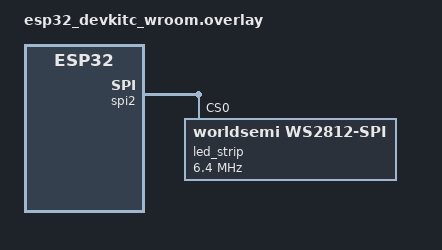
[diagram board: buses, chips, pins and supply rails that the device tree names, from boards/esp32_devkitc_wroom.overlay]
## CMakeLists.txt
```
cmake_minimum_required(VERSION 3.20.0)
find_package(Zephyr REQUIRED HINTS $ENV{ZEPHYR_BASE})
project(bluetooth_display)

target_sources(app
PRIVATE
	src/main.cpp
	src/ots.cpp
	src/led_display.cpp
)
```

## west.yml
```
manifest:
  version:
    1.2

  projects:
    - name: zephyr
      url: https://github.com/zephyrproject-rtos/zephyr
      revision: v3.6.0
      clone-depth: 1
      import:
        file: west.yml
        path-prefix: deps
        name-allowlist:
          - cmsis
          - hal_espressif
          - tinycrypt

  self:
    path: .
```

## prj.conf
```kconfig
CONFIG_CPP=y
CONFIG_STD_CPP20=y
CONFIG_REQUIRES_FULL_LIBCPP=y

CONFIG_WARN_EXPERIMENTAL=y

CONFIG_LOG=y

CONFIG_BT=y
CONFIG_BT_PERIPHERAL=y
CONFIG_BT_DEVICE_NAME="LED Display"
CONFIG_BT_OTS=y
CONFIG_BT_OTS_OACP_WRITE_SUPPORT=y

CONFIG_LED_STRIP=y
CONFIG_WS2812_STRIP=y
```

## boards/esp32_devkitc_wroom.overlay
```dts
#include <zephyr/dt-bindings/led/led.h>

&spi2 {
	/* Workaround to support WS2812 driver */
	line-idle-low;

	led_strip: ws2812@0 {
		compatible = "worldsemi,ws2812-spi";

		/* SPI */
		reg = <0>; /* ignored, but necessary for SPI bindings */
		spi-max-frequency = <6400000>;

		/* WS2812 */
		chain-length = <225>; /* arbitrary; change at will */
		spi-cpha;
		spi-one-frame = <0xf0>; /* 11110000: 625 ns high and 625 ns low */
		spi-zero-frame = <0xc0>; /* 11000000: 312.5 ns high and 937.5 ns low */
		color-mapping = <
			LED_COLOR_ID_GREEN
			LED_COLOR_ID_RED
			LED_COLOR_ID_BLUE
		>;
	};
};

&pinctrl {
	spim2_default: spim2_default {
		group2 {
			pinmux = <SPIM2_MOSI_GPIO13>;
		};
	};
};

/ {
	aliases {
		led-strip = &led_strip;
	};
};
```

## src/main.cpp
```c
#include <zephyr/bluetooth/bluetooth.h>
#include <zephyr/bluetooth/uuid.h>
#include <zephyr/logging/log.h>

#include "led_display.hpp"
#include "ots.hpp"

LOG_MODULE_REGISTER(led_display);

constexpr char             DEVICE_NAME[]   = CONFIG_BT_DEVICE_NAME;
constexpr uint8_t          DEVICE_NAME_LEN = sizeof(DEVICE_NAME) - 1;
constexpr bt_le_adv_param *bt_param        = BT_LE_ADV_CONN;

static const bt_data ad[] = {
	BT_DATA_BYTES(BT_DATA_FLAGS, (BT_LE_AD_GENERAL | BT_LE_AD_NO_BREDR)),
	BT_DATA(BT_DATA_NAME_COMPLETE, DEVICE_NAME, DEVICE_NAME_LEN),
};

static const bt_data sd[] = {
	BT_DATA_BYTES(BT_DATA_UUID16_ALL, BT_UUID_16_ENCODE(BT_UUID_OTS_VAL)),
};

int main() {
	int err;
	led_display.set_image({0xff, 0xff, 0xff});
	err = led_display.update_display();
	if (err) {
		LOG_ERR("LED write failed (err %d)\n", err);
		return 0;
	}
	err = bt_enable(nullptr);
	if (err) {
		LOG_ERR("Bluetooth init failed (err %d)\n", err);
		return 0;
	}
	err = ots_init();
	if (err) {
		LOG_ERR("OTS init failed (err %d)\n", err);
		return 0;
	}
	err = bt_le_adv_start(bt_param, ad, ARRAY_SIZE(ad), sd, ARRAY_SIZE(sd));
	return 0;
}
```

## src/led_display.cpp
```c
#include "led_display.hpp"

LedDisplay led_display(DEVICE_DT_GET(DT_ALIAS(led_strip)));

void LedDisplay::set_image(const led_rgb pixel_value) {
	for (led_rgb &pixel : image) pixel = pixel_value;
}

int LedDisplay::update_display() {
	return led_strip_update_rgb(strip, std::data(image), std::size(image));
}
```

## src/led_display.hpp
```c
#ifndef LED_DISPLAY_HPP
#define LED_DISPLAY_HPP

#include <zephyr/device.h>
#include <zephyr/drivers/led_strip.h>

#include <array>

class LedDisplay {
	static constexpr size_t ROW_LENGTH = 15;
	static constexpr size_t ROW_COUNT  = 15;

	const device *const strip;

	std::array<led_rgb, ROW_LENGTH * ROW_COUNT> image;

public:
	LedDisplay(const device *strip) : strip(strip){};

	void set_image(led_rgb pixel_value);
	int  update_display();
};

extern LedDisplay led_display;

#endif  // LED_DISPLAY_HPP
```

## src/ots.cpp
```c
#include <zephyr/bluetooth/services/ots.h>

static int ots_obj_created(
	bt_ots *ots, bt_conn *conn, uint64_t id,
	const bt_ots_obj_add_param *add_param,
	bt_ots_obj_created_desc    *created_desc
) {
	return -ENOSYS;
}

static int ots_obj_deleted(bt_ots *ots, bt_conn *conn, uint64_t id) {
	return -ENOSYS;
}

static void ots_obj_selected(bt_ots *ots, bt_conn *conn, uint64_t id) {}

static ssize_t ots_obj_read(
	bt_ots *ots, bt_conn *conn, uint64_t id, void **data, size_t len,
	off_t offset
) {
	return -ENOSYS;
}

static ssize_t ots_obj_write(
	bt_ots *ots, bt_conn *conn, uint64_t id, const void *data, size_t len,
	off_t offset, size_t rem
) {
	return -ENOSYS;
}

static void ots_obj_name_written(
	bt_ots *ots, bt_conn *conn, uint64_t id, const char *cur_name,
	const char *new_name
) {}

static int ots_obj_cal_checksum(
	bt_ots *ots, bt_conn *conn, uint64_t id, off_t offset, size_t len,
	void **data
) {
	return -ENOSYS;
}

static bt_ots_cb ots_cb = {
	.obj_created      = ots_obj_created,
	.obj_deleted      = ots_obj_deleted,
	.obj_selected     = ots_obj_selected,
	.obj_read         = ots_obj_read,
	.obj_write        = ots_obj_write,
	.obj_name_written = ots_obj_name_written,
	.obj_cal_checksum = ots_obj_cal_checksum
};

int ots_init() {
	int     err;
	bt_ots *ots = bt_ots_free_instance_get();
	if (ots == NULL) return -ENOMEM;

	bt_ots_init_param ots_init = {
		.features = {.oacp = BIT(BT_OTS_OACP_FEAT_WRITE), .olcp = 0},
		.cb       = &ots_cb
	};
	err = bt_ots_init(ots, &ots_init);
	if (err) return err;
	return 0;
}
```

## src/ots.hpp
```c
#ifndef OTS_HPP
#define OTS_HPP

/** @brief Initialize OTS.
 *
 *  @return 0 in case of success or negative value in case of error.
 */
int ots_init();

#endif  // OTS_HPP
```
